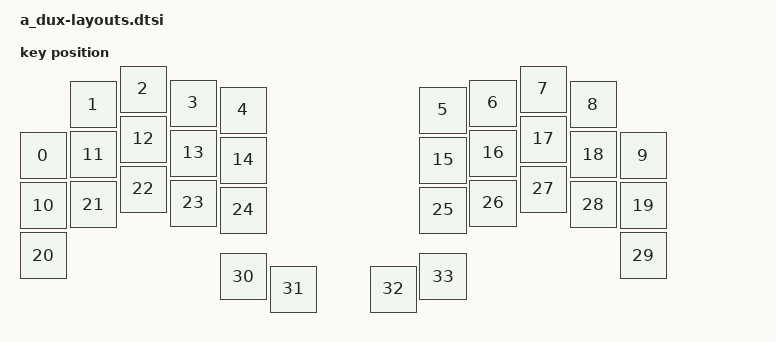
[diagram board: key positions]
/*
 * Copyright (c) 2025 The ZMK Contributors
 *
 * SPDX-License-Identifier: MIT
 */
#include <physical_layouts.dtsi>

/ {
    physical_layout0: physical_layout_0 {
        compatible = "zmk,physical-layout";
        display-name = "Default";

        keys  //                     w   h    x    y     rot    rx    ry
            = <&key_physical_attrs 100 100    0  133       0     0     0>
            , <&key_physical_attrs 100 100  100   31       0     0     0>
            , <&key_physical_attrs 100 100  200    0       0     0     0>
            , <&key_physical_attrs 100 100  300   28       0     0     0>
            , <&key_physical_attrs 100 100  400   42       0     0     0>
            , <&key_physical_attrs 100 100  800   42       0     0     0>
            , <&key_physical_attrs 100 100  900   28       0     0     0>
            , <&key_physical_attrs 100 100 1000    0       0     0     0>
            , <&key_physical_attrs 100 100 1100   31       0     0     0>
            , <&key_physical_attrs 100 100 1200  133       0     0     0>
            , <&key_physical_attrs 100 100    0  233       0     0     0>
            , <&key_physical_attrs 100 100  100  131       0     0     0>
            , <&key_physical_attrs 100 100  200  100       0     0     0>
            , <&key_physical_attrs 100 100  300  128       0     0     0>
            , <&key_physical_attrs 100 100  400  142       0     0     0>
            , <&key_physical_attrs 100 100  800  142       0     0     0>
            , <&key_physical_attrs 100 100  900  128       0     0     0>
            , <&key_physical_attrs 100 100 1000  100       0     0     0>
            , <&key_physical_attrs 100 100 1100  131       0     0     0>
            , <&key_physical_attrs 100 100 1200  233       0     0     0>
            , <&key_physical_attrs 100 100    0  333       0     0     0>
            , <&key_physical_attrs 100 100  100  231       0     0     0>
            , <&key_physical_attrs 100 100  200  200       0     0     0>
            , <&key_physical_attrs 100 100  300  228       0     0     0>
            , <&key_physical_attrs 100 100  400  242       0     0     0>
            , <&key_physical_attrs 100 100  800  242       0     0     0>
            , <&key_physical_attrs 100 100  900  228       0     0     0>
            , <&key_physical_attrs 100 100 1000  200       0     0     0>
            , <&key_physical_attrs 100 100 1100  231       0     0     0>
            , <&key_physical_attrs 100 100 1200  333       0     0     0>
            , <&key_physical_attrs 100 100  400  375       0     0     0>
            , <&key_physical_attrs 100 100  500  400       0     0     0>
            , <&key_physical_attrs 100 100  700  400       0     0     0>
            , <&key_physical_attrs 100 100  800  375       0     0     0>
            ;
    };
};
